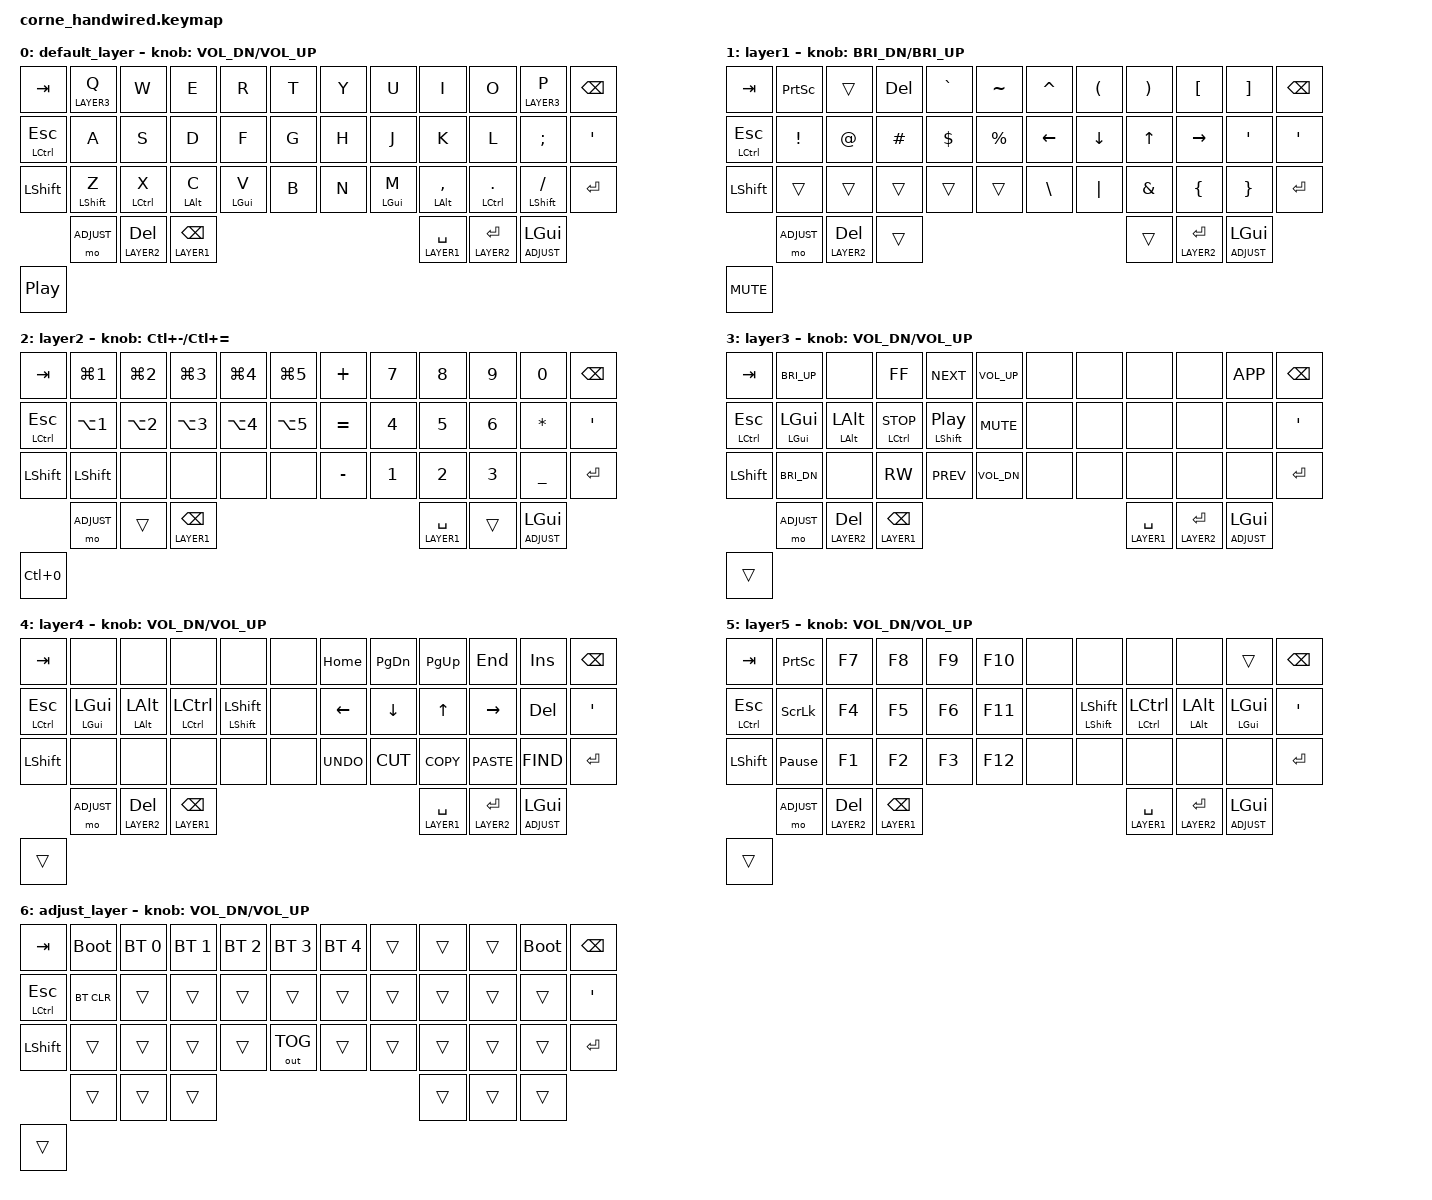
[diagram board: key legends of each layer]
/*
 * Corne Handwired Keymap
 * Encoder rotation: volume (layer0) / brightness (layer1) / zoom (layer2)
 * Encoder button: play/pause (layer0) / mute (layer1) / reset zoom (layer2)
 */

#include <behaviors.dtsi>
#include <dt-bindings/zmk/keys.h>
#include <dt-bindings/zmk/bt.h>
#include <dt-bindings/zmk/outputs.h>

#define DEFAULT 0
#define LAYER1  1
#define LAYER2  2
#define LAYER3  3
#define LAYER4  4
#define LAYER5  5
#define ADJUST  6

/ {
    macros {
        fat_arrow: fat_arrow {
            compatible = "zmk,behavior-macro";
            #binding-cells = <0>;
            bindings = <&kp EQUAL &kp GT>;
        };
    };

    keymap {
        compatible = "zmk,keymap";

        default_layer {
            // -----------------------------------------------------------------------------------------
            // |  TAB | L3/Q |  W  |  E  |  R  |  T  |   |  Y  |  U   |  I  |  O  | L3/P | BSPC |
            // | ESC/CTRL |  A  |  S  |  D  |  F  |  G  |   |  H  |  J   |  K  |  L  |  ;  |  '   |
            // | SHFT | SHFT/Z | CTRL/X | ALT/C | GUI/V |  B  |   |  N  | GUI/M | ALT/, | CTRL/. | SHFT// | RET  |
            //                    | ADJ | L2/DEL | L1/BSPC |   | L1/SPC | L2/ENT | ADJ/GUI |
            // Encoder button: play/pause | Encoder rotation: volume
            bindings = <
                &kp TAB       &lt LAYER3 Q &kp W &kp E &kp R &kp T     &kp Y &kp U &kp I     &kp O     &lt LAYER3 P    &kp BSPC
                &mt LCTRL ESC &kp A        &kp S &kp D &kp F &kp G     &kp H &kp J &kp K     &kp L     &kp SEMI        &kp SQT
                &kp LSHFT     &mt LSHFT Z  &mt LCTRL X &mt LEFT_ALT C &mt LGUI V &kp B     &kp N &mt LGUI M &mt LEFT_ALT COMMA &mt LCTRL DOT &mt LSHFT FSLH &kp RET
                                &mo ADJUST &lt LAYER2 DEL &lt LAYER1 BSPC   &lt LAYER1 SPACE &lt LAYER2 RET &lt ADJUST LGUI
                &kp C_PP
            >;
            sensor-bindings = <&inc_dec_kp C_VOL_DN C_VOL_UP>;
        };

        layer1 {
            // -----------------------------------------------------------------------------------------
            // |  TAB | PSCR | TRNS | DEL | GRV | TILD |   | ^   | (   | )   | [   | ]   | BSPC |
            // | ESC/CTRL | !   | @   | #   | $   | %   |   | LFT | DWN | UP  | RGT | '   |  '   |
            // | SHFT | TRNS | TRNS | TRNS | TRNS | TRNS |   | \   | |   | &   | {   | }   | RET  |
            //                    | ADJ | L2/DEL | L1/BSPC |   | L1/SPC | L2/ENT | ADJ/GUI |
            // Encoder rotation: brightness
            bindings = <
                &kp TAB       &kp PSCRN &trans &kp DEL  &kp GRAVE &kp TILDE     &kp CARET &kp LPAR &kp RPAR &kp LBKT &kp RBKT &kp BSPC
                &mt LCTRL ESC &kp EXCL  &kp AT &kp HASH &kp DLLR  &kp PRCNT     &kp LEFT  &kp DOWN &kp UP   &kp RIGHT &kp SQT &kp SQT
                &kp LSHFT     &trans    &trans &trans   &trans    &trans        &kp BSLH  &kp PIPE &kp AMPS &kp LBRC &kp RBRC &kp RET
                                        &mo ADJUST &lt LAYER2 DEL &trans   &trans &lt LAYER2 RET &lt ADJUST LGUI
                &kp C_MUTE
            >;
            sensor-bindings = <&inc_dec_kp C_BRI_DN C_BRI_UP>;
        };

        layer2 {
            // -----------------------------------------------------------------------------------------
            // |  TAB | GUI1 | GUI2 | GUI3 | GUI4 | GUI5 |   | +   | 7   | 8   | 9   | 0   | BSPC |
            // | ESC/CTRL | ALT1 | ALT2 | ALT3 | ALT4 | ALT5 |   | =   | 4   | 5   | 6   | *   |  '   |
            // | SHFT | SHFT | NONE | NONE | NONE | NONE |   | -   | 1   | 2   | 3   | _   | RET  |
            //                    | ADJ | L2/DEL | L1/BSPC |   | L1/SPC | L2/ENT | ADJ/GUI |
            bindings = <
                &kp TAB       &kp LG(N1) &kp LG(N2) &kp LG(N3) &kp LG(N4) &kp LG(N5)     &kp PLUS  &kp N7 &kp N8 &kp N9 &kp N0    &kp BSPC
                &mt LCTRL ESC &kp LA(N1) &kp LA(N2) &kp LA(N3) &kp LA(N4) &kp LA(N5)     &kp EQUAL &kp N4 &kp N5 &kp N6 &kp STAR  &kp SQT
                &kp LSHFT     &kp LSHFT  &none      &none      &none      &none          &kp MINUS &kp N1 &kp N2 &kp N3 &kp UNDER &kp RET
                                          &mo ADJUST &trans &lt LAYER1 BSPC   &lt LAYER1 SPACE &trans &lt ADJUST LGUI
                &kp LC(N0)
            >;
            sensor-bindings = <&inc_dec_kp LC(MINUS) LC(EQUAL)>;
        };

        layer3 {
            // -----------------------------------------------------------------------------------------
            // |  TAB | BRIU | NONE | MFFD | MNXT | VOLU |   | NONE | NONE | NONE | NONE | APP | BSPC |
            // | ESC/CTRL | GUI/TRNS | ALT/TRNS | CTRL/MSTP | SHFT/MPLY | MUTE |   | NONE | NONE | NONE | NONE | NONE |  '   |
            // | SHFT | BRID | NONE | MRWD | MPRV | VOLD |   | NONE | NONE | NONE | NONE | NONE | RET  |
            //                    | ADJ | L2/DEL | L1/BSPC |   | L1/SPC | L2/ENT | ADJ/GUI |
            bindings = <
                &kp TAB       &kp C_BRI_UP &none &kp C_FF   &kp C_NEXT &kp C_VOL_UP     &none &none &none &none &kp K_APP &kp BSPC
                &mt LCTRL ESC &mt LGUI LGUI &mt LEFT_ALT LEFT_ALT &mt LCTRL C_STOP &mt LSHFT C_PP &kp C_MUTE     &none &none &none &none &none &kp SQT
                &kp LSHFT     &kp C_BRI_DN &none &kp C_RW   &kp C_PREV &kp C_VOL_DN     &none &none &none &none &none &kp RET
                                          &mo ADJUST &lt LAYER2 DEL &lt LAYER1 BSPC   &lt LAYER1 SPACE &lt LAYER2 RET &lt ADJUST LGUI
                &trans
            >;
            sensor-bindings = <&inc_dec_kp C_VOL_DN C_VOL_UP>;
        };

        layer4 {
            // -----------------------------------------------------------------------------------------
            // |  TAB | NONE | NONE | NONE | NONE | NONE |   | HOME | PGDN | PGUP | END | INS | BSPC |
            // | ESC/CTRL | GUI/TRNS | ALT/TRNS | CTRL/TRNS | SHFT/TRNS | NONE |   | LEFT | DOWN | UP | RIGHT | DEL |  '   |
            // | SHFT | NONE | NONE | NONE | NONE | NONE |   | UNDO | CUT | COPY | PSTE | FIND | RET  |
            //                    | ADJ | L2/DEL | L1/BSPC |   | L1/SPC | L2/ENT | ADJ/GUI |
            bindings = <
                &kp TAB       &none &none &none &none &none     &kp HOME &kp PG_DN &kp PG_UP &kp END &kp INS &kp BSPC
                &mt LCTRL ESC &mt LGUI LGUI &mt LEFT_ALT LEFT_ALT &mt LCTRL LCTRL &mt LSHFT LSHFT &none     &kp LEFT &kp DOWN &kp UP &kp RIGHT &kp DEL &kp SQT
                &kp LSHFT     &none &none &none &none &none     &kp K_UNDO &kp K_CUT &kp K_COPY &kp K_PASTE &kp K_FIND &kp RET
                                          &mo ADJUST &lt LAYER2 DEL &lt LAYER1 BSPC   &lt LAYER1 SPACE &lt LAYER2 RET &lt ADJUST LGUI
                &trans
            >;
            sensor-bindings = <&inc_dec_kp C_VOL_DN C_VOL_UP>;
        };

        layer5 {
            // -----------------------------------------------------------------------------------------
            // |  TAB | PSCR | F7  | F8  | F9  | F10 |   | NONE | NONE | NONE | NONE | TRNS | BSPC |
            // | ESC/CTRL | SLCK | F4  | F5  | F6  | F11 |   | NONE | SHFT/TRNS | CTRL/TRNS | ALT/TRNS | GUI/TRNS |  '   |
            // | SHFT | PAUS | F1  | F2  | F3  | F12 |   | NONE | NONE | NONE | NONE | NONE | RET  |
            //                    | ADJ | L2/DEL | L1/BSPC |   | L1/SPC | L2/ENT | ADJ/GUI |
            bindings = <
                &kp TAB       &kp PSCRN &kp F7 &kp F8 &kp F9 &kp F10     &none &none &none &none &trans &kp BSPC
                &mt LCTRL ESC &kp SLCK  &kp F4 &kp F5 &kp F6 &kp F11     &none &mt LSHFT LSHFT &mt LCTRL LCTRL &mt LEFT_ALT LEFT_ALT &mt LGUI LGUI &kp SQT
                &kp LSHFT     &kp PAUSE_BREAK &kp F1 &kp F2 &kp F3 &kp F12     &none &none &none &none &none &kp RET
                                          &mo ADJUST &lt LAYER2 DEL &lt LAYER1 BSPC   &lt LAYER1 SPACE &lt LAYER2 RET &lt ADJUST LGUI
                &trans
            >;
            sensor-bindings = <&inc_dec_kp C_VOL_DN C_VOL_UP>;
        };

        adjust_layer {
            // -----------------------------------------------------------------------------------------
            // |  TAB | BOOTL | BT1 | BT2 | BT3 | BT4 |   | BT5 |     |     |     | BOOTR | BSPC |
            // | ESC/CTRL | BTCLR |     |     |     |     |   |     |     |     |     |     |  '   |
            // | SHFT |     |     |     |     |     |   |     |     |     |     |     | RET  |
            //                    |     |     |     |   |     |     |     |
            bindings = <
                &kp TAB   &bootloader &bt BT_SEL 0 &bt BT_SEL 1 &bt BT_SEL 2 &bt BT_SEL 3   &bt BT_SEL 4 &trans &trans &trans &bootloader &kp BSPC
                &mt LCTRL ESC &bt BT_CLR &trans       &trans       &trans       &trans         &trans      &trans &trans &trans &trans &kp SQT
                &kp LSHFT &trans       &trans       &trans       &trans       &out OUT_TOG   &trans      &trans &trans &trans &trans &kp RET
                                                     &trans       &trans       &trans         &trans      &trans &trans
                &trans
            >;
            sensor-bindings = <&inc_dec_kp C_VOL_DN C_VOL_UP>;
        };
    };

    combos {
        compatible = "zmk,combos";

        combo_lbrc {
            timeout-ms = <50>;
            key-positions = <3 4>;
            bindings = <&kp LBKT>;
        };

        combo_rbrc {
            timeout-ms = <50>;
            key-positions = <7 8>;
            bindings = <&kp RBKT>;
        };

        combo_xc_minus {
            timeout-ms = <50>;
            key-positions = <26 27>;
            bindings = <&kp MINUS>;
        };

        combo_lcbr {
            timeout-ms = <50>;
            key-positions = <27 28>;
            bindings = <&kp LBRC>;
        };

        combo_rcbr {
            timeout-ms = <50>;
            key-positions = <31 32>;
            bindings = <&kp RBRC>;
        };

        combo_esc {
            timeout-ms = <50>;
            key-positions = <19 20>;
            bindings = <&kp ESC>;
        };

        combo_bspc {
            timeout-ms = <50>;
            key-positions = <20 21>;
            bindings = <&kp BSPC>;
        };

        combo_caps {
            timeout-ms = <50>;
            key-positions = <15 16>;
            bindings = <&kp CAPS>;
        };

        combo_tab {
            timeout-ms = <50>;
            key-positions = <14 15>;
            bindings = <&kp TAB>;
        };

        combo_dquo {
            timeout-ms = <50>;
            key-positions = <9 10>;
            bindings = <&kp DQT>;
        };

        combo_squo {
            timeout-ms = <50>;
            key-positions = <21 22>;
            bindings = <&kp SQT>;
        };

        combo_enter {
            timeout-ms = <50>;
            key-positions = <19 21>;
            bindings = <&kp RET>;
        };

        combo_layer5 {
            timeout-ms = <50>;
            key-positions = <37 38>;
            bindings = <&mo LAYER5>;
        };

        combo_fat_arrow {
            timeout-ms = <50>;
            key-positions = <16 17>;
            bindings = <&fat_arrow>;
        };

        combo_under {
            timeout-ms = <50>;
            key-positions = <32 33>;
            bindings = <&kp UNDER>;
        };


        combo_equal {
            timeout-ms = <50>;
            key-positions = <18 19>;
            bindings = <&kp EQUAL>;
        };

        combo_minus {
            timeout-ms = <50>;
            key-positions = <30 31>;
            bindings = <&kp MINUS>;
        };

        combo_plus {
            timeout-ms = <50>;
            key-positions = <6 7>;
            bindings = <&kp PLUS>;
        };

        combo_rpar {
            timeout-ms = <50>;
            key-positions = <8 9>;
            bindings = <&kp RPAR>;
        };

        combo_lpar {
            timeout-ms = <50>;
            key-positions = <2 3>;
            bindings = <&kp LPAR>;
        };
    };
};
